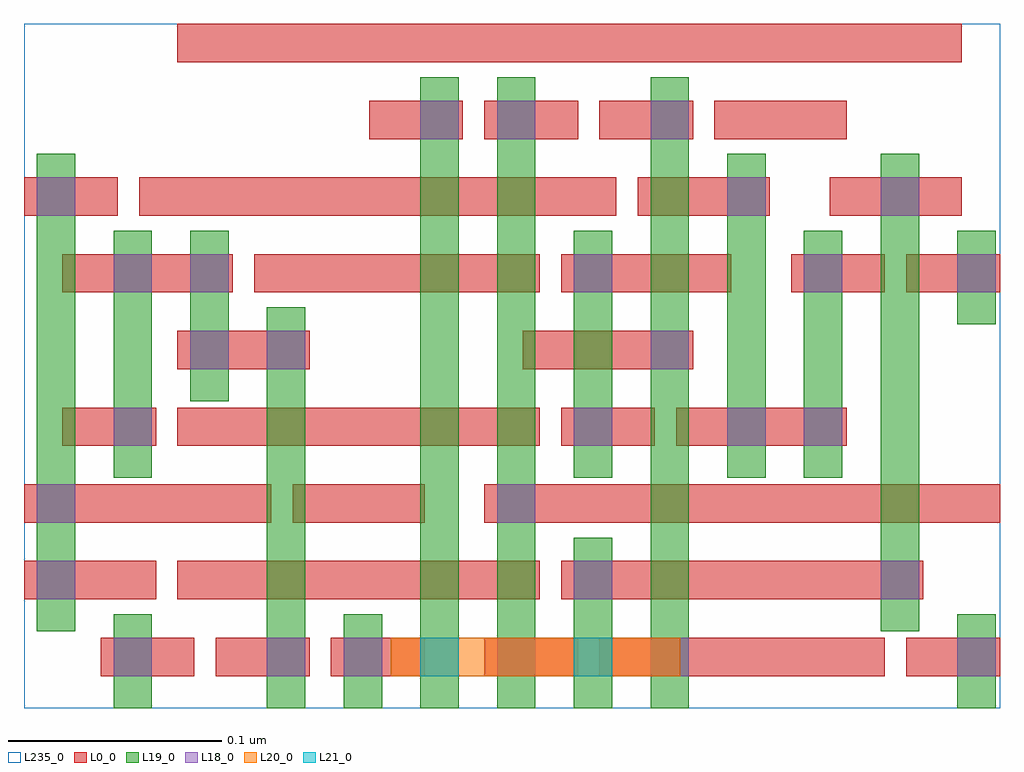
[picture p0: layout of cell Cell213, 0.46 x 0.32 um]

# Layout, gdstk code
import gdstk
lib = gdstk.Library(unit=1e-6, precision=2.5e-10)
def R(c, l, rs):  # rectangles x0, y0, x1, y1
    for r in rs: c.add(gdstk.rectangle(r[:2], r[2:], *l))
def A(c, l, x, y, w, h, nx, ny, dx, dy):  # array of equal rectangles
    R(c, l, [(x+i*dx, y+j*dy, x+i*dx+w, y+j*dy+h) for i in range(nx) for j in range(ny)])
L0_0 = (0, 0)
L18_0 = (18, 0)
L19_0 = (19, 0)
L20_0 = (20, 0)
L21_0 = (21, 0)
L235_0 = (235, 0)

cell213 = lib.new_cell('Cell213')
A(cell213, L0_0, 0.04, -0.001, 0.044, 0.018, 3, 1, 0.054, 0)
A(cell213, L0_0, 0.166, 0.251, 0.044, 0.018, 3, 1, 0.054, 0)
R(cell213, L0_0, [(0.22,-0.001,0.264,0.017), (0.274,-0.001,0.408,0.017), (0.418,-0.001,0.462,0.017), (0.004,0.035,0.066,0.053), (0.076,0.035,0.246,0.053), (0.256,0.035,0.426,0.053), (0.004,0.071,0.12,0.089), (0.13,0.071,0.192,0.089), (0.22,0.071,0.462,0.089), (0.022,0.107,0.066,0.125), (0.076,0.107,0.246,0.125), (0.256,0.107,0.3,0.125), (0.31,0.107,0.39,0.125), (0.076,0.143,0.138,0.161), (0.238,0.143,0.318,0.161), (0.022,0.179,0.102,0.197), (0.112,0.179,0.246,0.197), (0.256,0.179,0.336,0.197), (0.364,0.179,0.408,0.197), (0.418,0.179,0.462,0.197), (0.004,0.215,0.048,0.233), (0.058,0.215,0.282,0.233), (0.292,0.215,0.354,0.233), (0.382,0.215,0.444,0.233), (0.328,0.251,0.39,0.269), (0.076,0.287,0.444,0.305)])
A(cell213, L18_0, 0.154, -0.001, 0.018, 0.018, 3, 1, 0.072, 0)
A(cell213, L18_0, 0.262, 0.035, 0.018, 0.018, 1, 3, 0, 0.072)
R(cell213, L18_0, [(0.046,-0.001,0.064,0.017), (0.118,-0.001,0.136,0.017), (0.442,-0.001,0.46,0.017), (0.01,0.035,0.028,0.053), (0.406,0.035,0.424,0.053), (0.01,0.071,0.028,0.089), (0.226,0.071,0.244,0.089), (0.046,0.107,0.064,0.125), (0.334,0.107,0.352,0.125), (0.37,0.107,0.388,0.125), (0.082,0.143,0.1,0.161), (0.118,0.143,0.136,0.161), (0.298,0.143,0.316,0.161), (0.046,0.179,0.064,0.197), (0.082,0.179,0.1,0.197), (0.37,0.179,0.388,0.197), (0.442,0.179,0.46,0.197), (0.01,0.215,0.028,0.233), (0.334,0.215,0.352,0.233), (0.406,0.215,0.424,0.233), (0.19,0.251,0.208,0.269), (0.226,0.251,0.244,0.269), (0.298,0.251,0.316,0.269)])
R(cell213, L19_0, [(0.046,-0.016,0.064,0.028), (0.118,-0.016,0.136,0.172), (0.154,-0.016,0.172,0.028), (0.19,-0.016,0.208,0.28), (0.226,-0.016,0.244,0.28), (0.262,-0.016,0.28,0.064), (0.298,-0.016,0.316,0.28), (0.442,-0.016,0.46,0.028), (0.01,0.02,0.028,0.244), (0.406,0.02,0.424,0.244), (0.046,0.092,0.064,0.208), (0.262,0.092,0.28,0.208), (0.334,0.092,0.352,0.244), (0.37,0.092,0.388,0.208), (0.082,0.128,0.1,0.208), (0.442,0.164,0.46,0.208)])
R(cell213, L20_0, [(0.176,-0.001,0.312,0.017)])
R(cell213, L21_0, [(0.19,-0.001,0.208,0.017), (0.262,-0.001,0.28,0.017)])
R(cell213, L235_0, [(0.004,-0.016,0.462,0.305)])

lib.write_gds('Cell213.gds')
